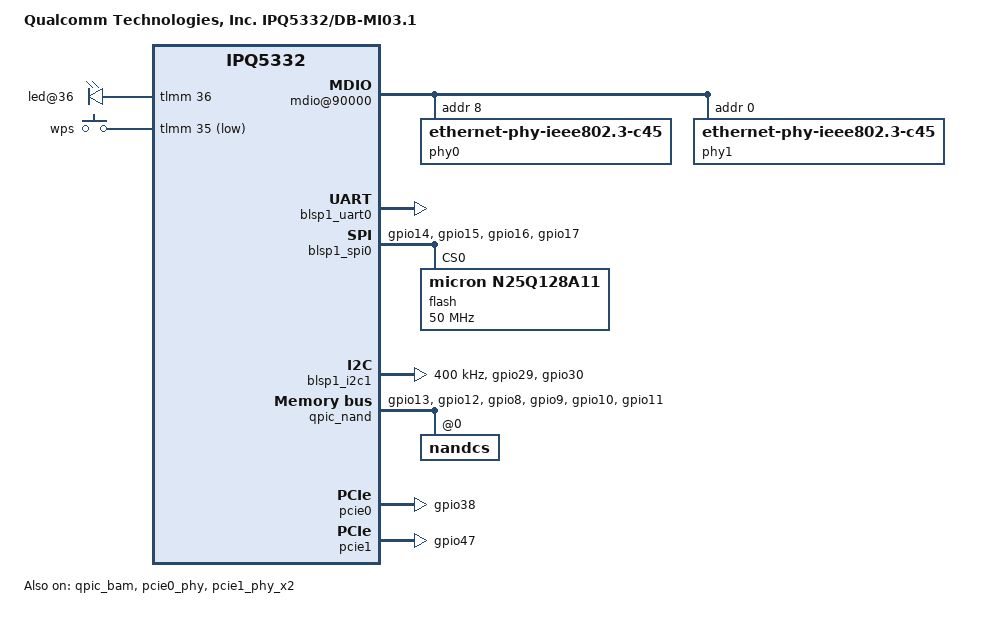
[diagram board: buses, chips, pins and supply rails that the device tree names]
// SPDX-License-Identifier: (GPL-2.0+ OR BSD-3-Clause)
/*
 * IPQ5332 DB-MI03.1 board device tree source
 *
 * Copyright (c) 2020-2021 The Linux Foundation. All rights reserved.
 * Copyright (c) 2022-2023 Qualcomm Innovation Center, Inc. All rights reserved.
 */

/dts-v1/;

#include "ipq5332.dtsi"
#include <dt-bindings/gpio/gpio.h>
#include <dt-bindings/input/input.h>
#include "ipq5332-default-memory.dtsi"

/ {
	model = "Qualcomm Technologies, Inc. IPQ5332/DB-MI03.1";
	compatible = "qcom,ipq5332-db-mi03.1", "qcom,ipq5332";

	aliases {
		serial0 = &blsp1_uart0;
	};

	chosen {
		stdout-path = "serial0";
	};

	soc@0 {
		leds {
			compatible = "gpio-leds";
			pinctrl-0 = <&leds_pins>;
			pinctrl-names = "default";
			led@36 {
				gpios = <&tlmm 36 GPIO_ACTIVE_HIGH>;
				linux,default-trigger = "led_2g";
				default-state = "off";
			};
		};

		gpio_keys {
			compatible = "gpio-keys";
			pinctrl-0 = <&button_pins>;
			pinctrl-names = "default";
			status = "okay";

			button@1 {
				label = "wps";
				linux,code = <KEY_WPS_BUTTON>;
				gpios = <&tlmm 35 GPIO_ACTIVE_LOW>;
				linux,input-type = <1>;
				debounce-interval = <60>;
			};
		};

		mdio@90000 {
			status = "ok";
			pinctrl-0 = <&mdio1_pins>;
			pinctrl-names = "default";

			phy0: ethernet-phy@0 {
				reg = <8>;
				compatible ="ethernet-phy-ieee802.3-c45";
			};
			phy1: ethernet-phy@1 {
				reg = <0>;
				compatible ="ethernet-phy-ieee802.3-c45";
			};
		};

		ess-instance {
			ess-switch@3a000000 {
				switch_cpu_bmp = <0x1>;  /* cpu port bitmap */
				switch_lan_bmp = <0x2>; /* lan port bitmap */
				switch_wan_bmp = <0x4>; /* wan port bitmap */
				switch_mac_mode = <0xf>; /* mac mode for uniphy instance0*/
				switch_mac_mode1 = <0xf>; /* mac mode for uniphy instance1*/
				switch_mac_mode2 = <0xff>; /* mac mode for uniphy instance2*/
				qcom,port_phyinfo {
					port@0 {
						port_id = <1>;
						phy_address = <8>;
						ethernet-phy-ieee802.3-c45;
					};
					port@1 {
						port_id = <2>;
						phy_address = <0>;
						ethernet-phy-ieee802.3-c45;
					};
				};
			};
		};
	};
};

&blsp1_uart0 {
	pinctrl-0 = <&serial_0_pins>;
	pinctrl-names = "default";
	status = "okay";
};

&blsp1_spi0 {
	pinctrl-0 = <&spi_0_data_clk_pins &spi_0_cs_pins>;
	pinctrl-names = "default";
	status = "okay";

	flash@0 {
		compatible = "micron,n25q128a11", "jedec,spi-nor";
		reg = <0>;
		#address-cells = <1>;
		#size-cells = <1>;
		spi-max-frequency = <50000000>;
	};
};

&sdhc {
	bus-width = <4>;
	max-frequency = <192000000>;
	mmc-ddr-1_8v;
	mmc-hs200-1_8v;
	non-removable;
	pinctrl-0 = <&sdc_default_state>;
	pinctrl-names = "default";
	status = "disabled";
};

&blsp1_i2c1 {
	clock-frequency  = <400000>;
	pinctrl-0 = <&i2c_1_pins>;
	pinctrl-names = "default";
	status = "okay";
};

&sleep_clk {
	clock-frequency = <32000>;
};

&xo_board {
	clock-frequency = <24000000>;
};

&qpic_bam {
	status = "okay";
};

&qpic_nand {
	pinctrl-0 = <&qspi_default_state>;
	pinctrl-names = "default";
	status = "okay";

	nandcs@0 {
		reg = <0>;
		#address-cells = <1>;
		#size-cells = <1>;

		nand-ecc-strength = <8>;
		nand-ecc-step-size = <512>;
		nand-bus-width = <8>;
	};
};

&pcie0_phy {
	status = "okay";
};

&pcie0 {
	pinctrl-0 = <&pcie0_default_state>;
	pinctrl-names = "default";
	perst-gpios = <&tlmm 38 GPIO_ACTIVE_LOW>;
	status = "okay";
};

&pcie1_phy_x2 {
	status = "okay";
};

&pcie1 {
	pinctrl-0 = <&pcie1_default_state>;
	pinctrl-names = "default";
	perst-gpios = <&tlmm 47 GPIO_ACTIVE_LOW>;
	status = "okay";
};

/* PINCTRL */

&tlmm {
	sdc_default_state: sdc-default-state {
		clk-pins {
			pins = "gpio13";
			function = "sdc_clk";
			drive-strength = <8>;
			bias-disable;
		};

		cmd-pins {
			pins = "gpio12";
			function = "sdc_cmd";
			drive-strength = <8>;
			bias-pull-up;
		};

		data-pins {
			pins = "gpio8", "gpio9", "gpio10", "gpio11";
			function = "sdc_data";
			drive-strength = <8>;
			bias-pull-up;
		};
	};

	qspi_default_state: qspi-default-state {
		qspi_clock {
			pins = "gpio13";
			function = "qspi_clk";
			drive-strength = <8>;
			bias-pull-down;
		};

		qspi_cs {
			pins = "gpio12";
			function = "qspi_cs";
			drive-strength = <8>;
			bias-pull-up;
		};

		qspi_data {
			pins = "gpio8", "gpio9", "gpio10", "gpio11";
			function = "qspi_data";
			drive-strength = <8>;
			bias-pull-down;
		};
	};

	i2c_1_pins: i2c-1-state {
		pins = "gpio29", "gpio30";
		function = "blsp1_i2c0";
		drive-strength = <8>;
		bias-pull-up;
	};

	leds_pins: leds-state {
		pins = "gpio36";
		function = "gpio";
		drive-strength = <8>;
		bias-pull-down;
	};

	button_pins: button-state {
		pins = "gpio35";
		function = "gpio";
		drive-strength = <8>;
		bias-pull-up;
	};

	pcie0_default_state: pcie0-default-state {
		pins = "gpio38";
		function = "gpio";
		drive-strength = <8>;
		bias-pull-up;
		output-low;
	};

	pcie1_default_state: pcie1-default-state {
		pins = "gpio47";
		function = "gpio";
		drive-strength = <8>;
		bias-pull-up;
		output-low;
	};

	spi_0_data_clk_pins: spi-0-data-clk-state {
		pins = "gpio14", "gpio15", "gpio16";
		function = "blsp0_spi";
		drive-strength = <2>;
		bias-pull-down;
	};

	spi_0_cs_pins: spi-0-cs-state {
		pins = "gpio17";
		function = "blsp0_spi";
		drive-strength = <2>;
		bias-pull-up;
	};

};
